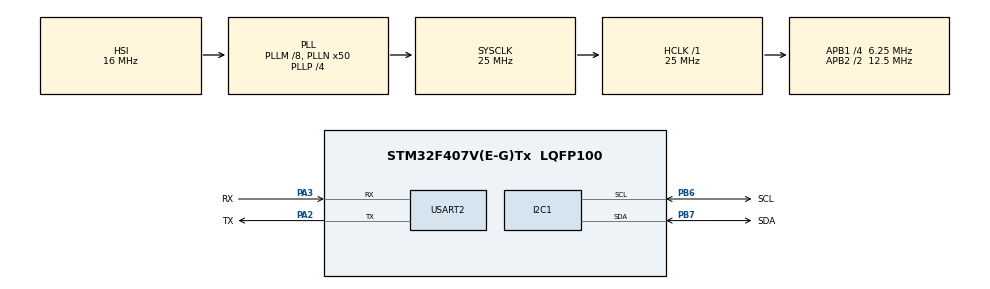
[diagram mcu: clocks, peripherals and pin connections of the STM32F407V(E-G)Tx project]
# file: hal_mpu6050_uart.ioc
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I2C1.I2C_Mode=I2C_Fast
Mcu.Family=STM32F4
Mcu.Name=STM32F407V(E-G)Tx
Mcu.Package=LQFP100
NVIC.PriorityGroup=NVIC_PRIORITYGROUP_0
PA13.Mode=Serial_Wire
PA13.Signal=SYS_JTMS-SWDIO
PA14.Mode=Serial_Wire
PA14.Signal=SYS_JTCK-SWCLK
PA2.GPIO_Label=TX
PA2.Mode=Asynchronous
PA2.Signal=USART2_TX
PA3.GPIO_Label=RX
PA3.Mode=Asynchronous
PA3.Signal=USART2_RX
PB6.GPIO_Label=SCL
PB6.Mode=I2C
PB6.Signal=I2C1_SCL
PB7.GPIO_Label=SDA
PB7.Mode=I2C
PB7.Signal=I2C1_SDA
ProjectManager.HeapSize=0x200
ProjectManager.StackSize=0x400
ProjectManager.TargetToolchain=STM32CubeIDE
RCC.48MHZClocksFreq_Value=14285714.285714285
RCC.AHBFreq_Value=25000000
RCC.APB1CLKDivider=RCC_HCLK_DIV4
RCC.APB1Freq_Value=6250000
RCC.APB1TimFreq_Value=12500000
RCC.APB2CLKDivider=RCC_HCLK_DIV2
RCC.APB2Freq_Value=12500000
RCC.APB2TimFreq_Value=25000000
RCC.CortexFreq_Value=25000000
RCC.HCLKFreq_Value=25000000
RCC.HSE_VALUE=8000000
RCC.HSI_VALUE=16000000
RCC.LSE_VALUE=32768
RCC.PLLM=8
RCC.PLLN=50
RCC.PLLP=RCC_PLLP_DIV4
RCC.PLLQ=7
RCC.SYSCLKFreq_VALUE=25000000
RCC.SYSCLKSource=RCC_SYSCLKSOURCE_PLLCLK
RCC.VCOOutputFreq_Value=100000000
USART2.VirtualMode=VM_ASYNC
board=STM32F407G-DISC1

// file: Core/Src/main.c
/* USER CODE BEGIN Header */
/**
  ******************************************************************************
  * @file           : main.c
  * @brief          : Main program body
  ******************************************************************************
  */
/* USER CODE END Header */
#include "main.h"

/* USER CODE BEGIN Includes */
#include <stdio.h>
/* USER CODE END Includes */

/* USER CODE BEGIN PD */
#define MPU6050_ADDR   (0x68 << 1)   // 7-bit address 0x68 shifted for HAL (8-bit)
#define WHO_AM_I_REG   0x75
#define PWR_MGMT_1     0x6B
#define ACCEL_XOUT_H   0x3B
/* USER CODE END PD */

I2C_HandleTypeDef hi2c1;
UART_HandleTypeDef huart2;

/* USER CODE BEGIN PV */
uint8_t data_buffer[14];

float Ax, Ay, Az;
float Gx, Gy, Gz;
float Temp;
uint8_t tx_buffer[128]; // bigger buffer for float prints
int len = 0;
/* USER CODE END PV */

void SystemClock_Config(void);
static void MX_GPIO_Init(void);
static void MX_I2C1_Init(void);
static void MX_USART2_UART_Init(void);

/* USER CODE BEGIN PFP */
void MPU6050_Init(void);
HAL_StatusTypeDef MPU6050_Ready(void);   // return status for caller
void MPU6050_Convert(void);
/* USER CODE END PFP */

/* USER CODE BEGIN 0 */

void MPU6050_Init(void)
{
    uint8_t check = 0;
    uint8_t data = 0;

    // Read WHO_AM_I (default = 0x68)
    if (HAL_I2C_Mem_Read(&hi2c1, MPU6050_ADDR, WHO_AM_I_REG, I2C_MEMADD_SIZE_8BIT, &check, 1, 1000) != HAL_OK) {
        // I2C read failed — optional: report error via UART if available
        return;
    }

    if (check == 0x68)
    {
        // Wake up the MPU6050 (clear sleep bit)
        data = 0x00;
        HAL_I2C_Mem_Write(&hi2c1, MPU6050_ADDR, PWR_MGMT_1, I2C_MEMADD_SIZE_8BIT, &data, 1, 100);

        // Sample Rate = Gyro output rate / (1 + SMPLRT_DIV)
        data = 0x07;
        HAL_I2C_Mem_Write(&hi2c1, MPU6050_ADDR, 0x19, I2C_MEMADD_SIZE_8BIT, &data, 1, 100);

        // Configure DLPF
        data = 0x00;
        HAL_I2C_Mem_Write(&hi2c1, MPU6050_ADDR, 0x1A, I2C_MEMADD_SIZE_8BIT, &data, 1, 100);

        // Configure Gyroscope Range = ±250 °/s
        data = 0x00;
        HAL_I2C_Mem_Write(&hi2c1, MPU6050_ADDR, 0x1B, I2C_MEMADD_SIZE_8BIT, &data, 1, 100);

        // Configure Accelerometer Range = ±2g
        data = 0x00;
        HAL_I2C_Mem_Write(&hi2c1, MPU6050_ADDR, 0x1C, I2C_MEMADD_SIZE_8BIT, &data, 1, 100);
    } else {
        // Optional: handle unexpected WHO_AM_I
    }
}

HAL_StatusTypeDef MPU6050_Ready(void)
{
    // Read 14 consecutive bytes starting from ACCEL_XOUT_H
    return HAL_I2C_Mem_Read(&hi2c1, MPU6050_ADDR, ACCEL_XOUT_H, I2C_MEMADD_SIZE_8BIT, data_buffer, 14, 1000);
}

void MPU6050_Convert(void)
{
    int16_t ax = (int16_t)((data_buffer[0] << 8) | data_buffer[1]);
    int16_t ay = (int16_t)((data_buffer[2] << 8) | data_buffer[3]);
    int16_t az = (int16_t)((data_buffer[4] << 8) | data_buffer[5]);

    int16_t temp = (int16_t)((data_buffer[6] << 8) | data_buffer[7]);

    int16_t gx = (int16_t)((data_buffer[8] << 8) | data_buffer[9]);
    int16_t gy = (int16_t)((data_buffer[10] << 8) | data_buffer[11]);
    int16_t gz = (int16_t)((data_buffer[12] << 8) | data_buffer[13]);

    Ax = (float)ax / 16384.0f;   // ±2g full scale
    Ay = (float)ay / 16384.0f;
    Az = (float)az / 16384.0f;

    Temp = (float)temp / 340.0f + 36.53f;

    Gx = (float)gx / 131.0f;     // ±250 °/s
    Gy = (float)gy / 131.0f;
    Gz = (float)gz / 131.0f;
}

/* USER CODE END 0 */

int main(void)
{
  HAL_Init();
  SystemClock_Config();

  MX_GPIO_Init();
  MX_I2C1_Init();
  MX_USART2_UART_Init();   // initialize UART before using it for logs

  MPU6050_Init(); // initialize sensor

  // Optional: verify WHO_AM_I by trying a read right after init
  while (1)
  {
      if (MPU6050_Ready() == HAL_OK) {
          MPU6050_Convert();

          // Print values via UART
          // format: Accel (g), Temp (C), Gyro (deg/s)
          len = snprintf((char*)tx_buffer, sizeof(tx_buffer),
                         "Ax=%.3f g Ay=%.3f g Az=%.3f g | T=%.2f C | Gx=%.2f dps Gy=%.2f dps Gz=%.2f dps\r\n",
                         Ax, Ay, Az, Temp, Gx, Gy, Gz);

          if (len > 0 && len < sizeof(tx_buffer)) {
              HAL_UART_Transmit(&huart2, tx_buffer, (uint16_t)len, HAL_MAX_DELAY);
          }
      } else {
          // Read failed; optional report
          len = snprintf((char*)tx_buffer, sizeof(tx_buffer), "MPU6050 read error\r\n");
          HAL_UART_Transmit(&huart2, tx_buffer, (uint16_t)len, HAL_MAX_DELAY);
      }

      HAL_Delay(2000);
  }
}

/* The rest of your auto-generated functions (SystemClock_Config, MX_I2C1_Init,
   MX_GPIO_Init, MX_USART2_UART_Init, Error_Handler) remain the same as in
   your project. Make sure MX_USART2_UART_Init() is implemented properly. */

void SystemClock_Config(void)
{
  RCC_OscInitTypeDef RCC_OscInitStruct = {0};
  RCC_ClkInitTypeDef RCC_ClkInitStruct = {0};

  /** Configure the main internal regulator output voltage
  */
  __HAL_RCC_PWR_CLK_ENABLE();
  __HAL_PWR_VOLTAGESCALING_CONFIG(PWR_REGULATOR_VOLTAGE_SCALE1);

  /** Initializes the RCC Oscillators according to the specified parameters
  * in the RCC_OscInitTypeDef structure.
  */
  RCC_OscInitStruct.OscillatorType = RCC_OSCILLATORTYPE_HSI;
  RCC_OscInitStruct.HSIState = RCC_HSI_ON;
  RCC_OscInitStruct.HSICalibrationValue = RCC_HSICALIBRATION_DEFAULT;
  RCC_OscInitStruct.PLL.PLLState = RCC_PLL_ON;
  RCC_OscInitStruct.PLL.PLLSource = RCC_PLLSOURCE_HSI;
  RCC_OscInitStruct.PLL.PLLM = 8;
  RCC_OscInitStruct.PLL.PLLN = 50;
  RCC_OscInitStruct.PLL.PLLP = RCC_PLLP_DIV4;
  RCC_OscInitStruct.PLL.PLLQ = 7;
  if (HAL_RCC_OscConfig(&RCC_OscInitStruct) != HAL_OK)
  {
    Error_Handler();
  }

  /** Initializes the CPU, AHB and APB buses clocks
  */
  RCC_ClkInitStruct.ClockType = RCC_CLOCKTYPE_HCLK|RCC_CLOCKTYPE_SYSCLK
                              |RCC_CLOCKTYPE_PCLK1|RCC_CLOCKTYPE_PCLK2;
  RCC_ClkInitStruct.SYSCLKSource = RCC_SYSCLKSOURCE_PLLCLK;
  RCC_ClkInitStruct.AHBCLKDivider = RCC_SYSCLK_DIV1;
  RCC_ClkInitStruct.APB1CLKDivider = RCC_HCLK_DIV4;
  RCC_ClkInitStruct.APB2CLKDivider = RCC_HCLK_DIV2;

  if (HAL_RCC_ClockConfig(&RCC_ClkInitStruct, FLASH_LATENCY_0) != HAL_OK)
  {
    Error_Handler();
  }
}

static void MX_I2C1_Init(void)
{

  hi2c1.Instance = I2C1;
  hi2c1.Init.ClockSpeed = 400000;
  hi2c1.Init.DutyCycle = I2C_DUTYCYCLE_2;
  hi2c1.Init.OwnAddress1 = 0;
  hi2c1.Init.AddressingMode = I2C_ADDRESSINGMODE_7BIT;
  hi2c1.Init.DualAddressMode = I2C_DUALADDRESS_DISABLE;
  hi2c1.Init.OwnAddress2 = 0;
  hi2c1.Init.GeneralCallMode = I2C_GENERALCALL_DISABLE;
  hi2c1.Init.NoStretchMode = I2C_NOSTRETCH_DISABLE;
  if (HAL_I2C_Init(&hi2c1) != HAL_OK)
  {
    Error_Handler();
  }

}

static void MX_USART2_UART_Init(void)
{

  huart2.Instance = USART2;
  huart2.Init.BaudRate = 115200;
  huart2.Init.WordLength = UART_WORDLENGTH_8B;
  huart2.Init.StopBits = UART_STOPBITS_1;
  huart2.Init.Parity = UART_PARITY_NONE;
  huart2.Init.Mode = UART_MODE_TX_RX;
  huart2.Init.HwFlowCtl = UART_HWCONTROL_NONE;
  huart2.Init.OverSampling = UART_OVERSAMPLING_16;
  if (HAL_UART_Init(&huart2) != HAL_OK)
  {
    Error_Handler();
  }

}

static void MX_GPIO_Init(void)
{

  /* GPIO Ports Clock Enable */
  __HAL_RCC_GPIOA_CLK_ENABLE();
  __HAL_RCC_GPIOB_CLK_ENABLE();

}

void Error_Handler(void)
{
  __disable_irq();
  while (1)
  {
  }
}
